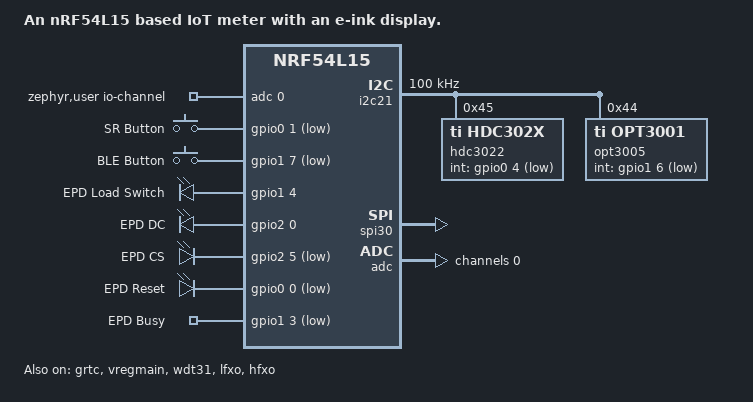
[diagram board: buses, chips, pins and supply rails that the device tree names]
/dts-v1/;

#include <nordic/nrf54l15_cpuapp.dtsi>
#include <dt-bindings/gpio/gpio.h>
#include "naulaTAG_v1-pinctrl.dtsi"

/ {
	model = "An nRF54L15 based IoT meter with an e-ink display.";
	compatible = "MH,naulaTAG-v1-cpuapp";

	chosen {
		zephyr,code-partition = &slot0_partition;
		zephyr,sram = &cpuapp_sram;
		zephyr,flash = &cpuapp_rram;
		zephyr,flash-controller = &rram_controller;
	};

	aliases {
		sr-button   = &sr_button;
		ble-button  = &ble_button;
		epd-load-sw = &epd_load_sw;
		epd-busy    = &epd_busy;
		epd-dc      = &epd_dc;
		epd-cs      = &epd_cs;
		epd-rst     = &epd_rst;
	};

	/* Consumer node: lets ADC_DT_SPEC_GET resolve channel@0 config from DTS */
	zephyr,user {
		io-channels = <&adc 0>;
	};

	buttons {
		compatible = "gpio-keys";
		/* SRButton: P0.01, active-low with internal pull-up */
		sr_button: sr_button {
			gpios = <&gpio0 1 (GPIO_ACTIVE_LOW | GPIO_PULL_UP)>;
			label = "SR Button";
		};
		/* BLEButton: P1.07, active-low with internal pull-up */
		ble_button: ble_button {
			gpios = <&gpio1 7 (GPIO_ACTIVE_LOW | GPIO_PULL_UP)>;
			label = "BLE Button";
		};
	};

	epd_gpios {
		compatible = "gpio-leds";
		/* Load switch for display power rail: P1.04, active-high */
		epd_load_sw: epd_load_sw {
			gpios = <&gpio1 4 GPIO_ACTIVE_HIGH>;
			label = "EPD Load Switch";
		};
		/* SPI data/command select: P2.00, active-high = data */
		epd_dc: epd_dc {
			gpios = <&gpio2 0 GPIO_ACTIVE_HIGH>;
			label = "EPD DC";
		};
		/* SPI chip-select: P2.05, active-low */
		epd_cs: epd_cs {
			gpios = <&gpio2 5 GPIO_ACTIVE_LOW>;
			label = "EPD CS";
		};
		/* Panel reset RST_N: P0.00, active-low.
		 * Ordinary GPIO on nRF54L15 — unlike nRF52, the reset function is
		 * not routable to it via UICR or GPIO CTRLSEL. */
		epd_rst: epd_rst {
			gpios = <&gpio0 0 GPIO_ACTIVE_LOW>;
			label = "EPD Reset";
		};
	};

	epd_inputs {
		compatible = "gpio-keys";
		/* BUSY_N: P1.03, active-low (panel busy when LOW) */
		epd_busy: epd_busy {
			gpios = <&gpio1 3 GPIO_ACTIVE_LOW>;
			label = "EPD Busy";
		};
	};
};

&grtc {
	owned-channels = <0 1 2 3 4 5 6 7 8 9 10 11>;
	/* Channels 7-11 reserved for Zero Latency IRQs, 3-4 for FLPR */
	child-owned-channels = <3 4 7 8 9 10 11>;
	status = "okay";
};

&cpuapp_sram {
	status = "okay";
};

&cpuapp_rram {
	partitions {
		compatible = "fixed-partitions";
		#address-cells = <1>;
		#size-cells = <1>;

		boot_partition: partition@0 {
			label = "mcuboot";
			reg = <0x0 DT_SIZE_K(64)>;
		};

		slot0_partition: partition@10000 {
			label = "image-0";
			reg = <0x10000 DT_SIZE_K(664)>;
		};

		slot1_partition: partition@b6000 {
			label = "image-1";
			reg = <0xb6000 DT_SIZE_K(664)>;
		};

		storage_partition: partition@15c000 {
			label = "storage";
			reg = <0x15c000 DT_SIZE_K(36)>;
		};
	};
};

/* ── I2C bus ─────────────────────────────────────────────────────────── */
&i2c21 {
	compatible = "nordic,nrf-twim";
	status = "okay";
	pinctrl-0 = <&i2c21_default>;
	pinctrl-1 = <&i2c21_sleep>;
	pinctrl-names = "default", "sleep";
	/* Standard mode (100 kHz), not Fast mode.  naulaTAG_v1 has no external
	 * SDA/SCL pull-ups: the bus is held high only by the nRF internal
	 * pull-ups (~13 kOhm typ).  Into the ~30 pF of bus capacitance that is
	 * a ~330 ns rise time, which exceeds the 300 ns Fast-mode limit but sits
	 * well inside the 1000 ns Standard-mode limit.  Two short sensor reads
	 * every 10 minutes make the extra bus time free.
	 * Fit 10 kOhm external pull-ups to go back to I2C_BITRATE_FAST. */
	clock-frequency = <I2C_BITRATE_STANDARD>;
	zephyr,pm-device-runtime-auto;

	hdc3022: hdc3022@45 {
		compatible = "ti,hdc302x";
		reg = <0x45>;
		int-gpios = <&gpio0 4 GPIO_ACTIVE_LOW>;
		status = "okay";
	};

	opt3005: opt3005@44 {
		compatible = "ti,opt3001";
		reg = <0x44>;
		int-gpios = <&gpio1 6 (GPIO_ACTIVE_LOW | GPIO_PULL_UP)>;
		status = "okay";
	};
};

/* ── SPI bus (CS and DC controlled by software) ─────────────────────── */
&spi30 {
    compatible = "nordic,nrf-spim";
    status = "okay";
    pinctrl-0 = <&spi30_default>;
    pinctrl-1 = <&spi30_sleep>;
    pinctrl-names = "default", "sleep";
    zephyr,pm-device-runtime-auto;

	/* 
    epd: e2206ks0e1@0 {
        compatible = "mh,e2206ks0e1";
        reg = <0>;
        // Cap at 16 MHz to respect the display's limits
        spi-max-frequency = <16000000>;
        
        busy-gpios = <&gpio1 3 GPIO_ACTIVE_HIGH>;
        dc-gpios   = <&gpio2 0 GPIO_ACTIVE_HIGH>;
        cs-gpios   = <&gpio2 5 GPIO_ACTIVE_LOW>;
        
        sck-gpios  = <&gpio2 1 GPIO_ACTIVE_HIGH>;
        mosi-gpios = <&gpio2 2 GPIO_ACTIVE_HIGH>;
    };
	*/
};


/* ── Main supply regulator ───────────────────────────────────────────── */
/*
 * Enable the internal DC/DC (SMPS).  The board fits L2 = 4.7 uH between
 * DCC (pin 46) and DECD (pin 45) for exactly this, but vregmain defaults
 * to status = "disabled" with regulator-initial-mode = LDO, so without
 * this node the SoC runs off the LDO and draws roughly twice the active
 * current — straight off a CR2 primary cell.
 */
&vregmain {
    status = "okay";
    regulator-initial-mode = <NRF5X_REG_MODE_DCDC>;
};

/* ── Watchdog ─────────────────────────────────────────────────────────── */
&wdt31 {
    status = "okay";
};

/* ── Enable GPIO Controllers ─────────────────────────────────────────── */
&gpio0 {
    status = "okay";
};

&gpio1 {
    status = "okay";
};

&gpio2 {
    status = "okay";
};

/* ── Enable GPIOTE (Hardware Interrupts) ─────────────────────────────── */
&gpiote20 {
    status = "okay";
};

&gpiote30 {
    status = "okay";
};

/* ── Enable Hardware Oscillators & Clock Controller ──────────────────── */
&clock {
    status = "okay";
};

/* Internal load capacitors.  The value programmed here is the CRYSTAL's
 * rated load capacitance (CL) — the driver derives the internal cap
 * setting from it.  Over-stating CL loads the crystal too heavily and
 * pulls the frequency low, which is why these must track the BOM. */

/* Y1 = Abracon ABS06N-32.768KHZ-9-T:  CL = 9 pF, +/-20 ppm */
&lfxo {
    status = "okay";
    load-capacitors = "internal";
    load-capacitance-femtofarad = <9000>;
};

/* Y2 = Murata XRCGB32M000F1S2AR0:  CL = 8 pF, 32 MHz */
&hfxo {
    status = "okay";
    load-capacitors = "internal";
    load-capacitance-femtofarad = <8000>;
};

/* ── Enable SAADC Measurements ────────────────────────────────────────── */
&adc {
    status = "okay";
    #address-cells = <1>;
    #size-cells = <0>;

    channel@0 {
        reg = <0>;
        zephyr,gain = "ADC_GAIN_1_6";
        zephyr,reference = "ADC_REF_INTERNAL";
        zephyr,acquisition-time = <ADC_ACQ_TIME_DEFAULT>;
        zephyr,input-positive = <NRF_SAADC_VDD>; /* Crucial: points to internal VDD */
        zephyr,resolution = <12>;
    };
};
